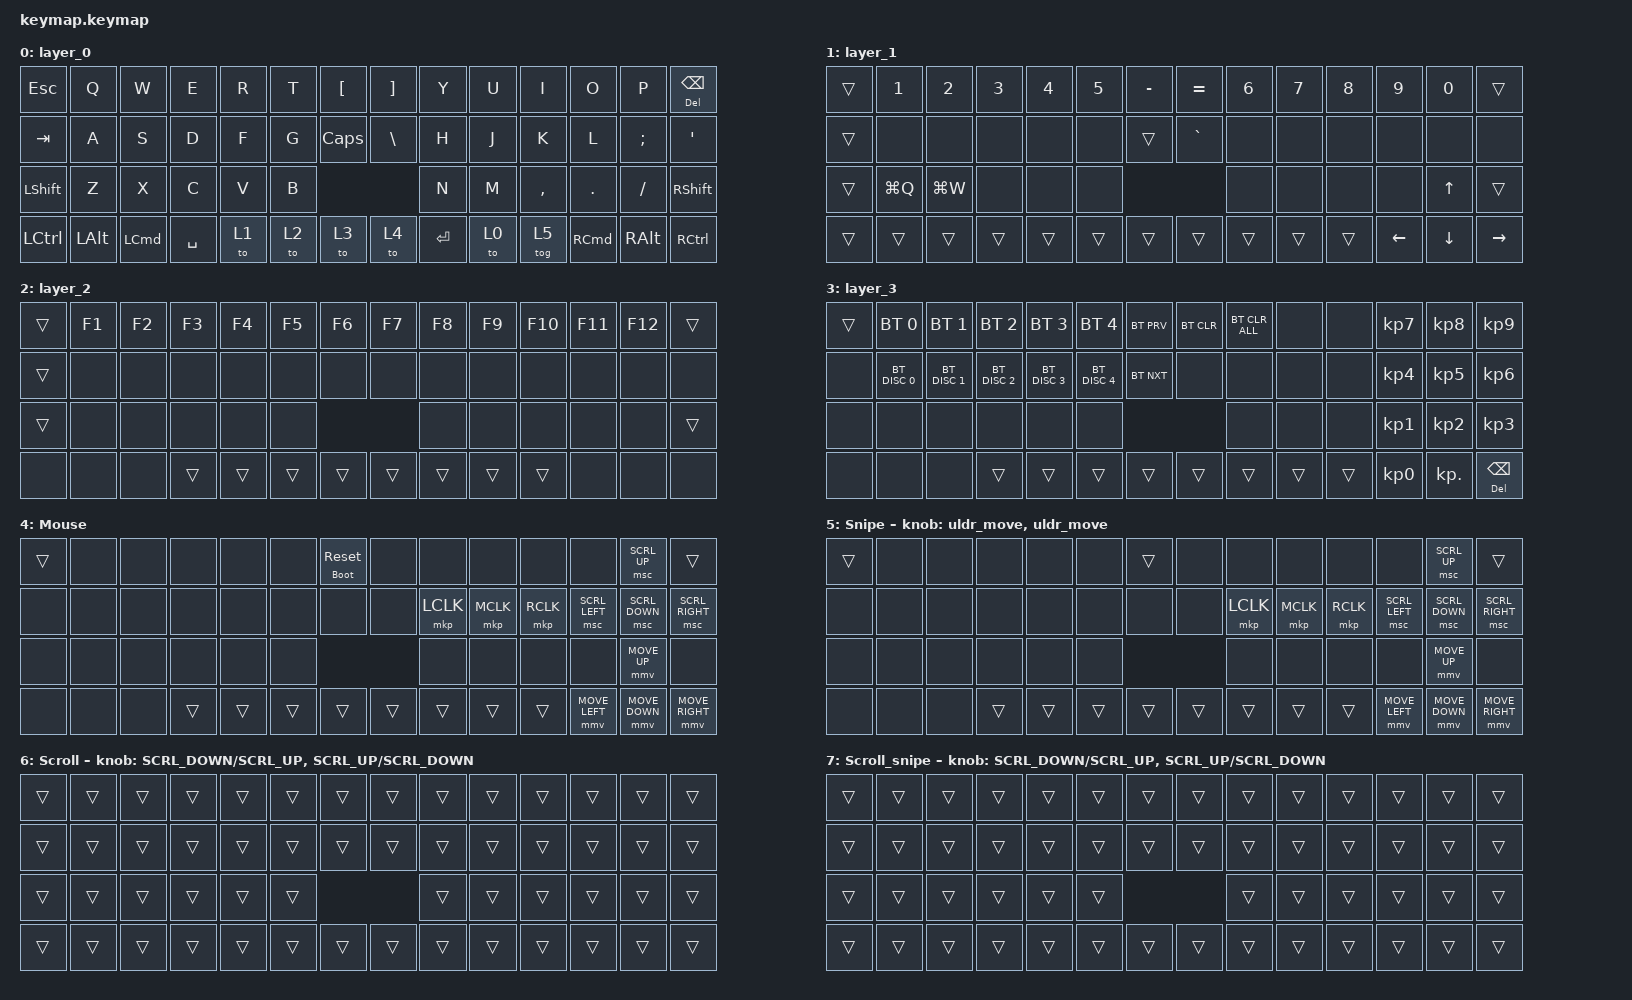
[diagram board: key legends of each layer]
#include <behaviors.dtsi>
#include <dt-bindings/zmk/bt.h>
#include <dt-bindings/zmk/keys.h>
#include <dt-bindings/zmk/pointing.h>

/ {
    behaviors {
        ht_boot_reset: ht_boot_reset {
            compatible = "zmk,behavior-hold-tap";
            label = "HT_BOOT_RESET";
            bindings = <&bootloader>, <&sys_reset>;

            #binding-cells = <2>;
            tapping-term-ms = <1000>;
        };

        mouse_scrl: mouse_wheel_scrl {
            compatible = "zmk,behavior-sensor-rotate-var";
            #sensor-binding-cells = <2>;
            bindings = <&msc>, <&msc>;

            tap-ms = <10>;
        };

        ul_move: move_up_left {
            compatible = "zmk,behavior-mod-morph";
            label = "MOVE UP LEFT";
            #binding-cells = <0>;
            bindings = <&mmv MOVE_UP>, <&mmv MOVE_LEFT>;

            mods = <MOD_LALT>;
        };

        dr_move: move_down_right {
            compatible = "zmk,behavior-mod-morph";
            label = "MOVE DOWN RIGHT";
            #binding-cells = <0>;
            bindings = <&mmv MOVE_DOWN>, <&mmv MOVE_RIGHT>;

            mods = <MOD_LALT>;
        };

        uldr_move: move_up_left_down_right {
            compatible = "zmk,behavior-sensor-rotate";
            #sensor-binding-cells = <0>;
            bindings = <&ul_move>, <&dr_move>;

            tap-ms = <10>;
        };
    };

    combos {
        compatible = "zmk,combos";

        scroll {
            bindings = <&to 6>;
            key-positions = <50 44>;
        };

        scroll-snipe {
            bindings = <&to 7>;
            key-positions = <50 45>;
        };
    };

    keymap {
        compatible = "zmk,keymap";

        layer_0 {
            bindings = <
&kp ESC           &kp Q         &kp W             &kp E      &kp R  &kp T  &kp LEFT_BRACKET  &kp RIGHT_BRACKET  &kp Y      &kp U  &kp I      &kp O              &kp P          &mt DELETE BACKSPACE
&kp TAB           &kp A         &kp S             &kp D      &kp F  &kp G  &kp CAPS          &kp BACKSLASH      &kp H      &kp J  &kp K      &kp L              &kp SEMICOLON  &kp SQT
&kp LEFT_SHIFT    &kp Z         &kp X             &kp C      &kp V  &kp B                                       &kp N      &kp M  &kp COMMA  &kp PERIOD         &kp SLASH      &kp RIGHT_SHIFT
&kp LEFT_CONTROL  &kp LEFT_ALT  &kp LEFT_COMMAND  &kp SPACE  &to 1  &to 2  &to 3             &to 4              &kp ENTER  &to 0  &tog 5     &kp RIGHT_COMMAND  &kp RIGHT_ALT  &kp RIGHT_CONTROL
            >;
        };

        layer_1 {
            bindings = <
&trans  &kp NUMBER_1  &kp NUMBER_2  &kp NUMBER_3  &kp NUMBER_4  &kp N5  &kp MINUS  &kp EQUAL  &kp NUMBER_6  &kp NUMBER_7  &kp NUMBER_8  &kp NUMBER_9    &kp NUMBER_0  &trans
&trans  &none         &none         &none         &none         &none   &trans     &kp GRAVE  &none         &none         &none         &none           &none         &none
&trans  &kp LG(Q)     &kp LG(W)     &none         &none         &none                         &none         &none         &none         &none           &kp UP_ARROW  &trans
&trans  &trans        &trans        &trans        &trans        &trans  &trans     &trans     &trans        &trans        &trans        &kp LEFT_ARROW  &kp DOWN      &kp RIGHT
            >;
        };

        layer_2 {
            bindings = <
&trans  &kp F1  &kp F2  &kp F3  &kp F4  &kp F5  &kp F6  &kp F7  &kp F8  &kp F9  &kp F10  &kp F11  &kp F12  &trans
&trans  &none   &none   &none   &none   &none   &none   &none   &none   &none   &none    &none    &none    &none
&trans  &none   &none   &none   &none   &none                   &none   &none   &none    &none    &none    &trans
&none   &none   &none   &trans  &trans  &trans  &trans  &trans  &trans  &trans  &trans   &none    &none    &none
            >;
        };

        layer_3 {
            bindings = <
&trans  &bt BT_SEL 0   &bt BT_SEL 1   &bt BT_SEL 2   &bt BT_SEL 3   &bt BT_SEL 4   &bt BT_PRV  &bt BT_CLR  &bt BT_CLR_ALL  &none   &none   &kp KP_NUMBER_7  &kp KP_NUMBER_8  &kp KP_NUMBER_9
&none   &bt BT_DISC 0  &bt BT_DISC 1  &bt BT_DISC 2  &bt BT_DISC 3  &bt BT_DISC 4  &bt BT_NXT  &none       &none           &none   &none   &kp KP_NUMBER_4  &kp KP_NUMBER_5  &kp KP_NUMBER_6
&none   &none          &none          &none          &none          &none                                  &none           &none   &none   &kp KP_NUMBER_1  &kp KP_NUMBER_2  &kp KP_NUMBER_3
&none   &none          &none          &trans         &trans         &trans         &trans      &trans      &trans          &trans  &trans  &kp KP_NUMBER_0  &kp KP_DOT       &mt DELETE BACKSPACE
            >;
        };

        Mouse {
            bindings = <
&trans  &none  &none  &none   &none   &none   &ht_boot_reset 0 0  &none   &none      &none      &none      &none           &msc SCRL_UP    &trans
&none   &none  &none  &none   &none   &none   &none               &none   &mkp LCLK  &mkp MCLK  &mkp RCLK  &msc SCRL_LEFT  &msc SCRL_DOWN  &msc SCRL_RIGHT
&none   &none  &none  &none   &none   &none                               &none      &none      &none      &none           &mmv MOVE_UP    &none
&none   &none  &none  &trans  &trans  &trans  &trans              &trans  &trans     &trans     &trans     &mmv MOVE_LEFT  &mmv MOVE_DOWN  &mmv MOVE_RIGHT
            >;
        };

        Snipe {
            bindings = <
&trans  &none  &none  &none   &none   &none   &trans  &none   &none      &none      &none      &none           &msc SCRL_UP    &trans
&none   &none  &none  &none   &none   &none   &none   &none   &mkp LCLK  &mkp MCLK  &mkp RCLK  &msc SCRL_LEFT  &msc SCRL_DOWN  &msc SCRL_RIGHT
&none   &none  &none  &none   &none   &none                   &none      &none      &none      &none           &mmv MOVE_UP    &none
&none   &none  &none  &trans  &trans  &trans  &trans  &trans  &trans     &trans     &trans     &mmv MOVE_LEFT  &mmv MOVE_DOWN  &mmv MOVE_RIGHT
            >;

            sensor-bindings = <&uldr_move>, <&uldr_move>;
        };

        Scroll {
            bindings = <
&trans  &trans  &trans  &trans  &trans  &trans  &trans  &trans  &trans  &trans  &trans  &trans  &trans  &trans
&trans  &trans  &trans  &trans  &trans  &trans  &trans  &trans  &trans  &trans  &trans  &trans  &trans  &trans
&trans  &trans  &trans  &trans  &trans  &trans                  &trans  &trans  &trans  &trans  &trans  &trans
&trans  &trans  &trans  &trans  &trans  &trans  &trans  &trans  &trans  &trans  &trans  &trans  &trans  &trans
            >;

            sensor-bindings =
                <&mouse_scrl SCRL_DOWN SCRL_UP>,
                <&mouse_scrl SCRL_UP SCRL_DOWN>;
        };

        Scroll_snipe {
            bindings = <
&trans  &trans  &trans  &trans  &trans  &trans  &trans  &trans  &trans  &trans  &trans  &trans  &trans  &trans
&trans  &trans  &trans  &trans  &trans  &trans  &trans  &trans  &trans  &trans  &trans  &trans  &trans  &trans
&trans  &trans  &trans  &trans  &trans  &trans                  &trans  &trans  &trans  &trans  &trans  &trans
&trans  &trans  &trans  &trans  &trans  &trans  &trans  &trans  &trans  &trans  &trans  &trans  &trans  &trans
            >;

            sensor-bindings =
                <&mouse_scrl SCRL_DOWN SCRL_UP>,
                <&mouse_scrl SCRL_UP SCRL_DOWN>;
        };
    };
};
